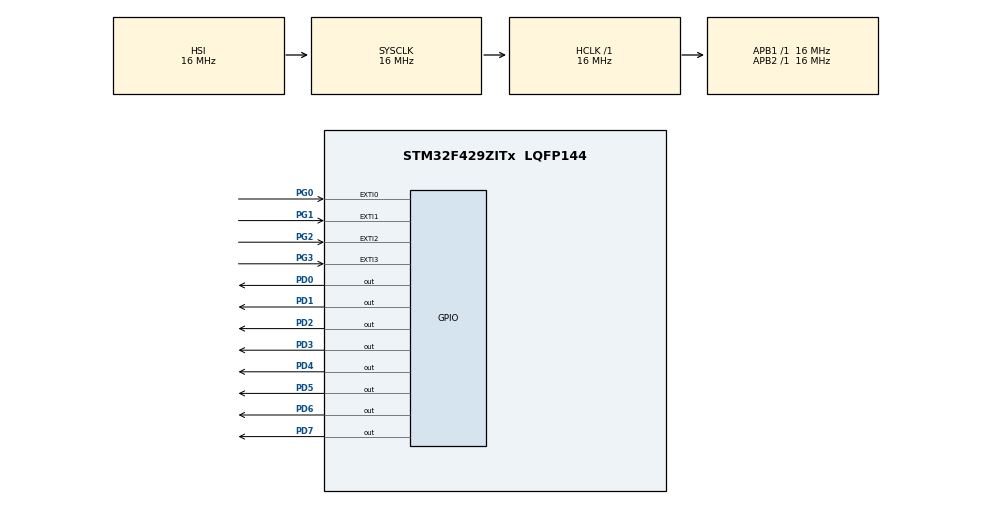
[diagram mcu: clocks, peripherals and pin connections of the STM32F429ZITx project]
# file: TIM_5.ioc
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Mcu.Family=STM32F4
Mcu.Name=STM32F429ZITx
Mcu.Package=LQFP144
NVIC.EXTI0_IRQn=true\:0\:0\:false\:false\:true\:true\:true\:true
NVIC.EXTI1_IRQn=true\:0\:0\:false\:false\:true\:true\:true\:true
NVIC.EXTI2_IRQn=true\:0\:0\:false\:false\:true\:true\:true\:true
NVIC.EXTI3_IRQn=true\:0\:0\:false\:false\:true\:true\:true\:true
NVIC.PriorityGroup=NVIC_PRIORITYGROUP_4
NVIC.RCC_IRQn=true\:0\:0\:false\:false\:true\:true\:false\:true
NVIC.TIM5_IRQn=true\:0\:0\:false\:false\:true\:true\:true\:true
PA13.Mode=Serial_Wire
PA13.Signal=SYS_JTMS-SWDIO
PA14.Mode=Serial_Wire
PA14.Signal=SYS_JTCK-SWCLK
PD0.GPIO_ModeDefaultOutputPP=GPIO_MODE_OUTPUT_PP
PD0.GPIO_PuPd=GPIO_PULLUP
PD0.GPIO_Speed=GPIO_SPEED_FREQ_HIGH
PD0.PinState=GPIO_PIN_RESET
PD0.Signal=GPIO_Output
PD1.GPIO_ModeDefaultOutputPP=GPIO_MODE_OUTPUT_PP
PD1.GPIO_PuPd=GPIO_PULLUP
PD1.GPIO_Speed=GPIO_SPEED_FREQ_HIGH
PD1.PinState=GPIO_PIN_RESET
PD1.Signal=GPIO_Output
PD2.GPIO_ModeDefaultOutputPP=GPIO_MODE_OUTPUT_PP
PD2.GPIO_PuPd=GPIO_PULLUP
PD2.GPIO_Speed=GPIO_SPEED_FREQ_HIGH
PD2.PinState=GPIO_PIN_RESET
PD2.Signal=GPIO_Output
PD3.GPIO_ModeDefaultOutputPP=GPIO_MODE_OUTPUT_PP
PD3.GPIO_PuPd=GPIO_PULLUP
PD3.GPIO_Speed=GPIO_SPEED_FREQ_HIGH
PD3.PinState=GPIO_PIN_RESET
PD3.Signal=GPIO_Output
PD4.GPIO_ModeDefaultOutputPP=GPIO_MODE_OUTPUT_PP
PD4.GPIO_PuPd=GPIO_PULLUP
PD4.GPIO_Speed=GPIO_SPEED_FREQ_HIGH
PD4.PinState=GPIO_PIN_RESET
PD4.Signal=GPIO_Output
PD5.GPIO_ModeDefaultOutputPP=GPIO_MODE_OUTPUT_PP
PD5.GPIO_PuPd=GPIO_PULLUP
PD5.GPIO_Speed=GPIO_SPEED_FREQ_HIGH
PD5.PinState=GPIO_PIN_RESET
PD5.Signal=GPIO_Output
PD6.GPIO_ModeDefaultOutputPP=GPIO_MODE_OUTPUT_PP
PD6.GPIO_PuPd=GPIO_PULLUP
PD6.GPIO_Speed=GPIO_SPEED_FREQ_HIGH
PD6.PinState=GPIO_PIN_RESET
PD6.Signal=GPIO_Output
PD7.GPIO_ModeDefaultOutputPP=GPIO_MODE_OUTPUT_PP
PD7.GPIO_PuPd=GPIO_PULLUP
PD7.GPIO_Speed=GPIO_SPEED_FREQ_HIGH
PD7.PinState=GPIO_PIN_RESET
PD7.Signal=GPIO_Output
PG0.GPIO_ModeDefaultEXTI=GPIO_MODE_IT_FALLING
PG0.GPIO_PuPd=GPIO_NOPULL
PG0.Signal=GPXTI0
PG1.GPIO_ModeDefaultEXTI=GPIO_MODE_IT_FALLING
PG1.GPIO_PuPd=GPIO_NOPULL
PG1.Signal=GPXTI1
PG2.GPIO_ModeDefaultEXTI=GPIO_MODE_IT_FALLING
PG2.GPIO_PuPd=GPIO_NOPULL
PG2.Signal=GPXTI2
PG3.GPIO_ModeDefaultEXTI=GPIO_MODE_IT_FALLING
PG3.GPIO_PuPd=GPIO_NOPULL
PG3.Signal=GPXTI3
PH0/OSC_IN.Mode=HSE-External-Clock-Source
PH0/OSC_IN.Signal=RCC_OSC_IN
PH1/OSC_OUT.Mode=HSE-External-Clock-Source
PH1/OSC_OUT.Signal=RCC_OSC_OUT
ProjectManager.HeapSize=0x200
ProjectManager.StackSize=0x400
ProjectManager.TargetToolchain=STM32CubeIDE
RCC.AHBFreq_Value=16000000
RCC.APB1Freq_Value=16000000
RCC.APB2Freq_Value=16000000
RCC.CortexFreq_Value=16000000
RCC.HSE_VALUE=25000000
RCC.HSI_VALUE=16000000
RCC.LSE_VALUE=32768
RCC.SYSCLKFreq_VALUE=16000000
RCC.VCOOutputFreq_Value=192000000
TIM2.Period=9999
TIM2.Prescaler=8999
TIM5.Channel-Output\ Compare1\ No\ Output=TIM_CHANNEL_1
TIM5.Period=9999
TIM5.Pulse-Output\ Compare1\ No\ Output=999
VP_TIM2_VS_ClockSourceINT.Mode=Internal
VP_TIM5_VS_ClockSourceINT.Mode=Internal
VP_TIM5_VS_no_output1.Mode=Output Compare1 No Output
board=custom

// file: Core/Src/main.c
/* USER CODE BEGIN Header */
/**
  ******************************************************************************
  * @file           : main.c
  * @brief          : Main program body
  ******************************************************************************
  * @attention
  *
  * Copyright (c) 2023 STMicroelectronics.
  * All rights reserved.
  *
  * This software is licensed under terms that can be found in the LICENSE file
  * in the root directory of this software component.
  * If no LICENSE file comes with this software, it is provided AS-IS.
  *
  ******************************************************************************
  */
/* USER CODE END Header */
#include "main.h"

TIM_HandleTypeDef htim2;
TIM_HandleTypeDef htim5;

void SystemClock_Config(void);
static void MX_GPIO_Init(void);
static void MX_TIM2_Init(void);
static void MX_TIM5_Init(void);
/* USER CODE BEGIN PFP */

void LED_OnOff(int, int);

/* USER CODE END PFP */

int main(void)
{

  /* MCU Configuration--------------------------------------------------------*/

  /* Reset of all peripherals, Initializes the Flash interface and the Systick. */
  HAL_Init();

  /* Configure the system clock */
  SystemClock_Config();

  /* Initialize all configured peripherals */
  MX_GPIO_Init();
  MX_TIM2_Init();
  MX_TIM5_Init();
  /* USER CODE BEGIN 2 */

  LED_OnOff(LED_ALL, 500);

  HAL_TIM_Base_Start_IT(&htim5);
  HAL_TIM_OC_Start_IT(&htim5, TIM_CHANNEL_1);

  /* USER CODE END 2 */

  /* Infinite loop */
  while (1)
  {

  }
}

void SystemClock_Config(void)
{
  RCC_OscInitTypeDef RCC_OscInitStruct = {0};
  RCC_ClkInitTypeDef RCC_ClkInitStruct = {0};

  /** Configure the main internal regulator output voltage
  */
  __HAL_RCC_PWR_CLK_ENABLE();
  __HAL_PWR_VOLTAGESCALING_CONFIG(PWR_REGULATOR_VOLTAGE_SCALE3);

  /** Initializes the RCC Oscillators according to the specified parameters
  * in the RCC_OscInitTypeDef structure.
  */
  RCC_OscInitStruct.OscillatorType = RCC_OSCILLATORTYPE_HSI;
  RCC_OscInitStruct.HSIState = RCC_HSI_ON;
  RCC_OscInitStruct.HSICalibrationValue = RCC_HSICALIBRATION_DEFAULT;
  RCC_OscInitStruct.PLL.PLLState = RCC_PLL_NONE;
  if (HAL_RCC_OscConfig(&RCC_OscInitStruct) != HAL_OK)
  {
    Error_Handler();
  }

  /** Initializes the CPU, AHB and APB buses clocks
  */
  RCC_ClkInitStruct.ClockType = RCC_CLOCKTYPE_HCLK|RCC_CLOCKTYPE_SYSCLK
                              |RCC_CLOCKTYPE_PCLK1|RCC_CLOCKTYPE_PCLK2;
  RCC_ClkInitStruct.SYSCLKSource = RCC_SYSCLKSOURCE_HSI;
  RCC_ClkInitStruct.AHBCLKDivider = RCC_SYSCLK_DIV1;
  RCC_ClkInitStruct.APB1CLKDivider = RCC_HCLK_DIV1;
  RCC_ClkInitStruct.APB2CLKDivider = RCC_HCLK_DIV1;

  if (HAL_RCC_ClockConfig(&RCC_ClkInitStruct, FLASH_LATENCY_0) != HAL_OK)
  {
    Error_Handler();
  }
}

static void MX_TIM2_Init(void)
{

  TIM_ClockConfigTypeDef sClockSourceConfig = {0};
  TIM_MasterConfigTypeDef sMasterConfig = {0};

  htim2.Instance = TIM2;
  htim2.Init.Prescaler = 8999;
  htim2.Init.CounterMode = TIM_COUNTERMODE_UP;
  htim2.Init.Period = 9999;
  htim2.Init.ClockDivision = TIM_CLOCKDIVISION_DIV1;
  htim2.Init.AutoReloadPreload = TIM_AUTORELOAD_PRELOAD_DISABLE;
  if (HAL_TIM_Base_Init(&htim2) != HAL_OK)
  {
    Error_Handler();
  }
  sClockSourceConfig.ClockSource = TIM_CLOCKSOURCE_INTERNAL;
  if (HAL_TIM_ConfigClockSource(&htim2, &sClockSourceConfig) != HAL_OK)
  {
    Error_Handler();
  }
  sMasterConfig.MasterOutputTrigger = TIM_TRGO_RESET;
  sMasterConfig.MasterSlaveMode = TIM_MASTERSLAVEMODE_DISABLE;
  if (HAL_TIMEx_MasterConfigSynchronization(&htim2, &sMasterConfig) != HAL_OK)
  {
    Error_Handler();
  }

}

static void MX_TIM5_Init(void)
{

  TIM_ClockConfigTypeDef sClockSourceConfig = {0};
  TIM_MasterConfigTypeDef sMasterConfig = {0};
  TIM_OC_InitTypeDef sConfigOC = {0};

  htim5.Instance = TIM5;
  htim5.Init.Prescaler = 0;
  htim5.Init.CounterMode = TIM_COUNTERMODE_UP;
  htim5.Init.Period = 9999;
  htim5.Init.ClockDivision = TIM_CLOCKDIVISION_DIV1;
  htim5.Init.AutoReloadPreload = TIM_AUTORELOAD_PRELOAD_DISABLE;
  if (HAL_TIM_Base_Init(&htim5) != HAL_OK)
  {
    Error_Handler();
  }
  sClockSourceConfig.ClockSource = TIM_CLOCKSOURCE_INTERNAL;
  if (HAL_TIM_ConfigClockSource(&htim5, &sClockSourceConfig) != HAL_OK)
  {
    Error_Handler();
  }
  if (HAL_TIM_OC_Init(&htim5) != HAL_OK)
  {
    Error_Handler();
  }
  sMasterConfig.MasterOutputTrigger = TIM_TRGO_RESET;
  sMasterConfig.MasterSlaveMode = TIM_MASTERSLAVEMODE_DISABLE;
  if (HAL_TIMEx_MasterConfigSynchronization(&htim5, &sMasterConfig) != HAL_OK)
  {
    Error_Handler();
  }
  sConfigOC.OCMode = TIM_OCMODE_TIMING;
  sConfigOC.Pulse = 999;
  sConfigOC.OCPolarity = TIM_OCPOLARITY_HIGH;
  sConfigOC.OCFastMode = TIM_OCFAST_DISABLE;
  if (HAL_TIM_OC_ConfigChannel(&htim5, &sConfigOC, TIM_CHANNEL_1) != HAL_OK)
  {
    Error_Handler();
  }

}

static void MX_GPIO_Init(void)
{
  GPIO_InitTypeDef GPIO_InitStruct = {0};

  /* GPIO Ports Clock Enable */
  __HAL_RCC_GPIOH_CLK_ENABLE();
  __HAL_RCC_GPIOG_CLK_ENABLE();
  __HAL_RCC_GPIOA_CLK_ENABLE();
  __HAL_RCC_GPIOD_CLK_ENABLE();

  /*Configure GPIO pin Output Level */
  HAL_GPIO_WritePin(GPIOD, GPIO_PIN_0|GPIO_PIN_1|GPIO_PIN_2|GPIO_PIN_3
                          |GPIO_PIN_4|GPIO_PIN_5|GPIO_PIN_6|GPIO_PIN_7, GPIO_PIN_RESET);

  /*Configure GPIO pins : PG0 PG1 PG2 PG3 */
  GPIO_InitStruct.Pin = GPIO_PIN_0|GPIO_PIN_1|GPIO_PIN_2|GPIO_PIN_3;
  GPIO_InitStruct.Mode = GPIO_MODE_IT_FALLING;
  GPIO_InitStruct.Pull = GPIO_NOPULL;
  HAL_GPIO_Init(GPIOG, &GPIO_InitStruct);

  /*Configure GPIO pins : PD0 PD1 PD2 PD3
                           PD4 PD5 PD6 PD7 */
  GPIO_InitStruct.Pin = GPIO_PIN_0|GPIO_PIN_1|GPIO_PIN_2|GPIO_PIN_3
                          |GPIO_PIN_4|GPIO_PIN_5|GPIO_PIN_6|GPIO_PIN_7;
  GPIO_InitStruct.Mode = GPIO_MODE_OUTPUT_PP;
  GPIO_InitStruct.Pull = GPIO_PULLUP;
  GPIO_InitStruct.Speed = GPIO_SPEED_FREQ_HIGH;
  HAL_GPIO_Init(GPIOD, &GPIO_InitStruct);

  /* EXTI interrupt init*/
  HAL_NVIC_SetPriority(EXTI0_IRQn, 0, 0);
  HAL_NVIC_EnableIRQ(EXTI0_IRQn);

  HAL_NVIC_SetPriority(EXTI1_IRQn, 0, 0);
  HAL_NVIC_EnableIRQ(EXTI1_IRQn);

  HAL_NVIC_SetPriority(EXTI2_IRQn, 0, 0);
  HAL_NVIC_EnableIRQ(EXTI2_IRQn);

  HAL_NVIC_SetPriority(EXTI3_IRQn, 0, 0);
  HAL_NVIC_EnableIRQ(EXTI3_IRQn);

}

/* USER CODE BEGIN 4 */

void LED_OnOff(int led, int interval)
{
	HAL_GPIO_WritePin(GPIO_LED, led, GPIO_PIN_SET );
	HAL_GPIO_WritePin(GPIO_LED_Nucleo, led, GPIO_PIN_SET );
	HAL_Delay(interval);
	HAL_GPIO_WritePin(GPIO_LED, led, GPIO_PIN_RESET );
	HAL_GPIO_WritePin(GPIO_LED_Nucleo, led, GPIO_PIN_RESET );
}
void HAL_TIM_PeriodElapsedCallback(TIM_HandleTypeDef *htim)
{
	if ( htim->Instance == TIM5) HAL_GPIO_WritePin(GPIO_LED, LED_ALL, GPIO_PIN_SET);
}
void HAL_TIM_OC_DelayElapsedCallback(TIM_HandleTypeDef *htim)
{
	if ( htim->Instance == TIM5) HAL_GPIO_WritePin(GPIO_LED, LED_ALL, GPIO_PIN_RESET);
}
void HAL_GPIO_EXTI_Callback(uint16_t GPIO_PIN)
{
	TIM_OC_InitTypeDef sConfigOC = {0};
	if ( GPIO_PIN == SW1) sConfigOC.Pulse = 999;
	if ( GPIO_PIN == SW2) sConfigOC.Pulse = 2999;
	if ( GPIO_PIN == SW3) sConfigOC.Pulse = 4999;
	if ( GPIO_PIN == SW4) sConfigOC.Pulse = 9999;
	HAL_TIM_OC_ConfigChannel(&htim5, &sConfigOC, TIM_CHANNEL_1);
}

/* USER CODE END 4 */

void Error_Handler(void)
{
  __disable_irq();
  while (1)
  {
  }
}
